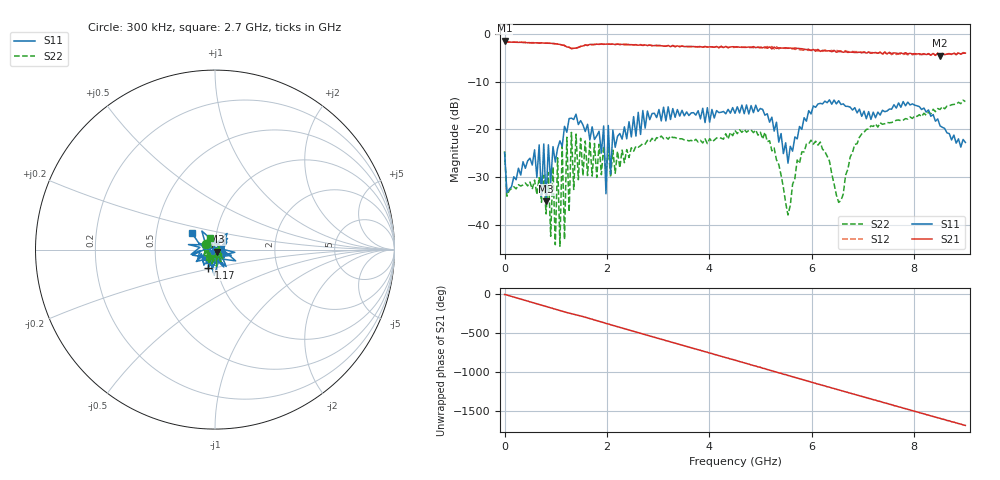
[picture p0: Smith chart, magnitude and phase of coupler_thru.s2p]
!Agilent Technologies,E8358A,US40210021,A.06.04.30
!Agilent E8358A: A.06.04.30
!Date: Saturday, April 14, 2018 14:29:39
!Correction: S11(Full 2 Port(1,2)) S21(Full 2 Port(1,2)) S12(Full 2 Port(1,2)) S22(Full 2 Port(1,2))
!S2P File: Measurements: S11, S21, S12, S22:
# Hz S  RI  R 50
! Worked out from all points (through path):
!   201 points, 300 kHz to 9 GHz, reference 50 ohm
!   highest |S21| = -1.44 dB at 300 kHz (marker M1); lowest = -4.6 dB at 8.505 GHz (marker M2)
!   group delay of S21, straight-line fit = 523 ps
!   lowest |S11| = -35.1 dB at 810.3 MHz (marker M3), VSWR 1.04, Z = 51.2 - j1.27 ohm
!   |S11| at or under -10 dB: start of sweep to end of sweep
!   |S22| runs from -44.4 to -13.9 dB; largest |S21 - S12| = 0.042
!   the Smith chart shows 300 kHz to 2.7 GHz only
!   S11 on the Smith chart (normalised r, x): 300 kHz: 0.90, +0.05; 1.17 GHz: 0.91, -0.19; 2.7 GHz: 0.76, +0.14
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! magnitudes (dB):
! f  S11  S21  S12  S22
! 300 kHz  -24.9  -1.4  -1.4  -24.6
! 810.3 MHz  -35.1  -2.0  -2.0  -37.7
! 945.3 MHz  -23.6  -2.0  -2.0  -27.8
! 990.3 MHz  -26.8  -2.1  -2.1  -44.1
! 1.035 GHz  -24.0  -2.2  -2.1  -26.0
! 1.08 GHz  -22.4  -2.2  -2.2  -44.4
! 1.125 GHz  -23.6  -2.4  -2.4  -23.5
! 1.17 GHz  -19.4  -2.5  -2.5  -43.0
! 1.215 GHz  -20.6  -2.8  -2.8  -21.7
! 1.26 GHz  -17.8  -2.9  -2.8  -37.3
! 1.305 GHz  -17.7  -3.1  -3.1  -20.7
! 1.53 GHz  -19.1  -2.6  -2.6  -29.7
! 1.98 GHz  -33.5  -2.2  -2.2  -29.7
! 2.7 GHz  -16.1  -2.5  -2.4  -23.0
! 3.015 GHz  -15.9  -2.5  -2.5  -21.9
! 4.5 GHz  -16.6  -2.8  -2.8  -20.2
! 5.535 GHz  -27.1  -3.1  -3.0  -37.9
! 6.03 GHz  -15.1  -3.3  -3.6  -23.1
! 6.525 GHz  -14.0  -3.7  -3.6  -35.3
! 7.515 GHz  -15.8  -3.9  -4.0  -18.6
! 8.505 GHz  -19.3  -4.6  -4.5  -15.9
! 9 GHz  -22.7  -4.1  -4.1  -14.2
